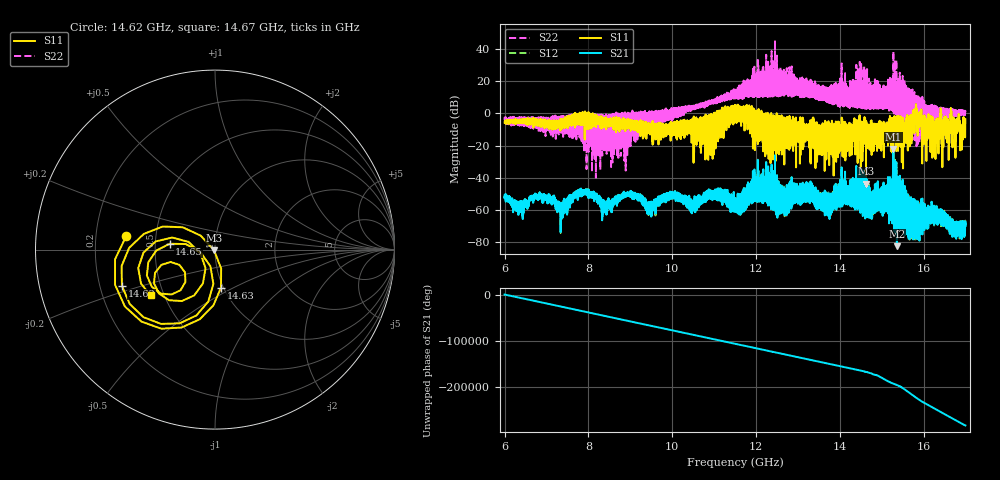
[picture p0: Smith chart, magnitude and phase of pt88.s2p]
#  HZ  S  RI  R  50.00
! Rohde & Schwarz Vector Network Analyzer
! Rohde-Schwarz,ZNA67-2Port,1332450062101215,3.01
! Created: UTC 10/19/2026, 10:40:16 AM
! freq[Hz]  re:S11  im:S11  re:S21  im:S21  re:S12  im:S12  re:S22  im:S22
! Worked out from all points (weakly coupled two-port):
!   11001 points, 6 GHz to 17 GHz, reference 50 ohm
!   highest |S21| = -22.24 dB at 15.28 GHz (marker M1); lowest = -82.8 dB at 15.37 GHz (marker M2)
!   lowest |S11| = -43.9 dB at 14.63 GHz (marker M3), VSWR 1.01, Z = 49.4 - j0.294 ohm
!   |S11| at or under -10 dB: 13.46876 GHz to 13.49485 GHz (26.09 MHz wide, 0.194 % of centre); 13.689 GHz to 13.71518 GHz (26.18 MHz wide, 0.191 % of centre); 13.92235 GHz to 13.94873 GHz (26.39 MHz wide, 0.189 % of centre) (the widest 3 of 519)
!   |S22| runs from -40.1 to 45.6 dB; largest |S21 - S12| = 0.0032
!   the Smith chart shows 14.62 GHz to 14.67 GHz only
!   S11 on the Smith chart (normalised r, x): 14.62 GHz: 0.34, +0.07; 14.63 GHz: 0.97, -0.43; 14.63 GHz: 0.29, -0.17; 14.65 GHz: 0.60, +0.04; 14.67 GHz: 0.42, -0.27
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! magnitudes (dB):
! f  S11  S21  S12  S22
! 6 GHz  -5.8  -51.1  -51.1  -3.9
! 7.355 GHz  -7.2  -58.2  -58.1  -2.8
! 7.834 GHz  -3.4  -49.0  -48.9  -1.5
! 8.378 GHz  -5.8  -56.5  -56.3  -22.9
! 8.985 GHz  -7.2  -49.8  -49.9  -13.9
! 9.667 GHz  -6.1  -52.5  -52.7  1.6
! 10.95 GHz  -2.3  -51.7  -51.5  6.9
! 11.5 GHz  5.0  -56.6  -57.0  10.9
! 12.02 GHz  -0.8  -52.7  -52.7  11.1
! 12.68 GHz  -6.6  -60.4  -59.8  15.2
! 13.33 GHz  -12.7  -51.8  -52.0  12.5
! 14.62 GHz  -6.0  -64.7  -64.8  7.0
! 14.63 GHz  -13.4  -53.2  -53.3  11.5
! 14.63 GHz  -43.9  -57.9  -58.0  5.6
! 14.63 GHz  -5.1  -57.9  -57.7  3.4
! 14.65 GHz  -11.9  -63.5  -63.3  3.3
! 14.67 GHz  -7.1  -57.3  -57.9  8.3
! 15.17 GHz  -14.7  -56.5  -56.0  8.0
! 15.28 GHz  -9.3  -22.2  -22.2  38.7
! 15.37 GHz  -20.0  -82.8  -82.4  -0.2
! 15.69 GHz  -1.0  -61.0  -62.0  4.6
! 17 GHz  -3.6  -70.0  -69.9  1.4
